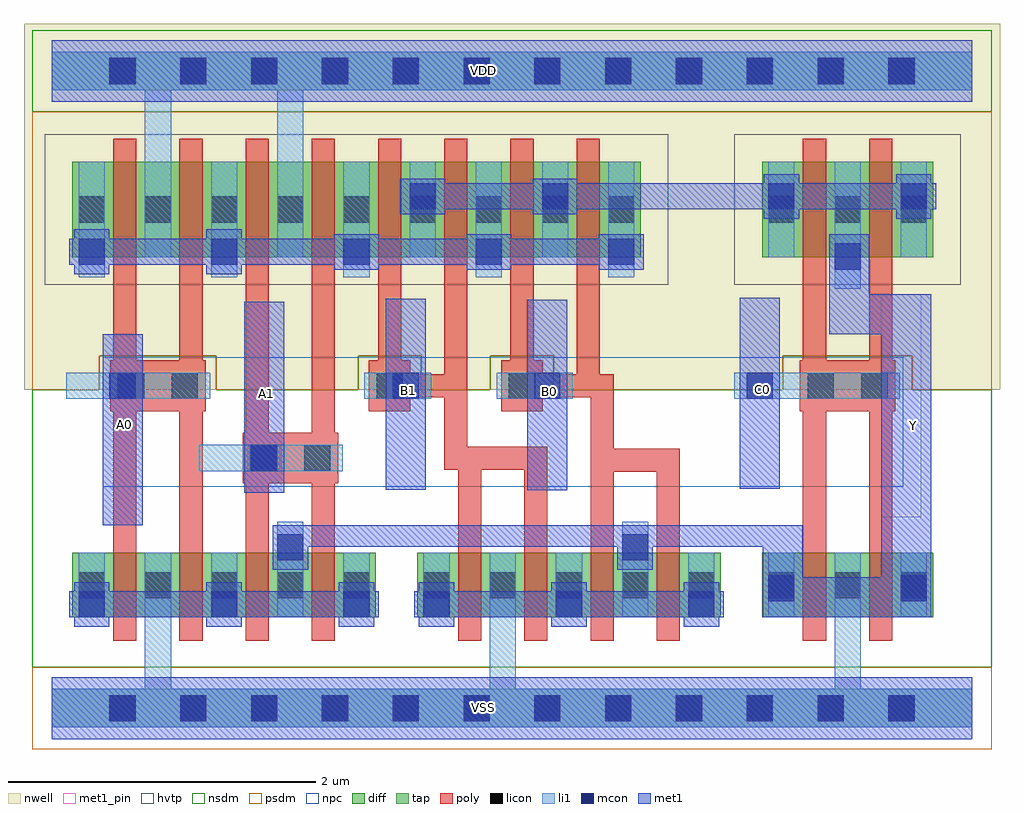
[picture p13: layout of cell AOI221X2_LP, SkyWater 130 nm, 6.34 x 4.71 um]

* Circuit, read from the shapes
.subckt AOI221X2_LP A0 A1 B0 B1 C0 VDD VSS Y
XM1 VSS A0 n1 VSS sky130_fd_pr__nfet_01v8 w=0.42 l=0.15 m=2
XM2 Y A1 n1 VSS sky130_fd_pr__nfet_01v8 w=0.42 l=0.15 m=2
XM3 VSS B1 n2 VSS sky130_fd_pr__nfet_01v8 w=0.42 l=0.15 m=2
XM4 Y B0 n2 VSS sky130_fd_pr__nfet_01v8 w=0.42 l=0.15 m=2
XM5 VSS C0 Y VSS sky130_fd_pr__nfet_01v8 w=0.42 l=0.15 m=2
XM6 VDD A0 n3 VDD sky130_fd_pr__pfet_01v8_hvt w=0.62 l=0.15 m=2
XM7 VDD A1 n3 VDD sky130_fd_pr__pfet_01v8_hvt w=0.62 l=0.15 m=2
XM8 n4 B1 n3 VDD sky130_fd_pr__pfet_01v8_hvt w=0.62 l=0.15 m=2
XM9 n4 B0 n3 VDD sky130_fd_pr__pfet_01v8_hvt w=0.62 l=0.15 m=2
XM10 Y C0 n4 VDD sky130_fd_pr__pfet_01v8_hvt w=0.62 l=0.15 m=2
.ends

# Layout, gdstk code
from math import pi, radians
import gdstk
lib = gdstk.Library(unit=1e-6, precision=1e-09)
def R(c, l, rs):  # rectangles x0, y0, x1, y1
    for r in rs: c.add(gdstk.rectangle(r[:2], r[2:], *l))
def A(c, l, x, y, w, h, nx, ny, dx, dy):  # array of equal rectangles
    R(c, l, [(x+i*dx, y+j*dy, x+i*dx+w, y+j*dy+h) for i in range(nx) for j in range(ny)])
def P(c, l, *ps):  # polygons
    for p in ps: c.add(gdstk.Polygon(p, *l))
nwell = (64, 20)
diff = (65, 20)
tap = (65, 44)
poly = (66, 20)
licon = (66, 44)
li1 = (67, 20)
mcon = (67, 44)
met1_pin = (68, 16)
met1 = (68, 20)
hvtp = (78, 44)
nsdm = (93, 44)
psdm = (94, 20)
npc = (95, 20)

l1m1_c_cdns_750721840977 = lib.new_cell('L1M1_C_CDNS_750721840977')
R(l1m1_c_cdns_750721840977, li1, [(-0.085,-0.165,0.085,0.085)])
R(l1m1_c_cdns_750721840977, mcon, [(-0.085,-0.085,0.085,0.085)])
R(l1m1_c_cdns_750721840977, met1, [(-0.115,-0.145,0.115,0.145)])

pyl1con_c_cdns_750721840 = lib.new_cell('PYL1CON_C_CDNS_750721840972')
R(pyl1con_c_cdns_750721840, poly, [(-0.135,-0.165,0.135,0.165)])
R(pyl1con_c_cdns_750721840, licon, [(-0.085,-0.085,0.085,0.085)])
R(pyl1con_c_cdns_750721840, npc, [(-0.185,-0.185,0.185,0.185)])

l1m1_c_cdns_750721840973 = lib.new_cell('L1M1_C_CDNS_750721840973')
R(l1m1_c_cdns_750721840973, li1, [(-0.165,-0.085,0.165,0.085)])
R(l1m1_c_cdns_750721840973, mcon, [(-0.085,-0.085,0.085,0.085)])
R(l1m1_c_cdns_750721840973, met1, [(-0.115,-0.145,0.115,0.145)])

l1m1_c_cdns_750721840971 = lib.new_cell('L1M1_C_CDNS_750721840971')
R(l1m1_c_cdns_750721840971, li1, [(-0.085,-0.165,0.085,0.165)])
R(l1m1_c_cdns_750721840971, mcon, [(-0.085,-0.085,0.085,0.085)])
R(l1m1_c_cdns_750721840971, met1, [(-0.115,-0.145,0.115,0.145)])

c_l1m1_c_cdns_750721840971 = lib.new_cell('L1M1_C_CDNS_7507218409710')
R(c_l1m1_c_cdns_750721840971, li1, [(-0.085,-0.165,0.085,0.165)])
R(c_l1m1_c_cdns_750721840971, mcon, [(-0.085,-0.085,0.085,0.085)])
R(c_l1m1_c_cdns_750721840971, met1, [(-0.145,-0.115,0.145,0.115)])

aoi221x2_lp = lib.new_cell('AOI221X2_LP')
R(aoi221x2_lp, nwell, [(-0.18,2.07,6.16,4.315), (-0.045,2.75,1.385,3.73), (1.025,2.75,2.245,3.73), (1.885,2.75,3.105,3.73), (2.745,2.75,4.005,3.73), (4.435,2.75,5.905,3.73), (-0.18,3.875,6.16,4.445)])
A(aoi221x2_lp, diff, 0.4, 0.59, 0.15, 0.42, 4, 1, 0.43, 0)
A(aoi221x2_lp, diff, 2.64, 0.59, 0.15, 0.42, 4, 1, 0.43, 0)
A(aoi221x2_lp, diff, 0.4, 2.93, 0.15, 0.62, 8, 1, 0.43, 0)
A(aoi221x2_lp, diff, 0.55, 2.93, 0.28, 0.62, 4, 1, 0.86, 0)
A(aoi221x2_lp, diff, 0.98, 2.93, 0.225, 0.62, 3, 1, 0.86, 0)
A(aoi221x2_lp, diff, 1.205, 2.93, 0.055, 0.62, 3, 1, 0.86, 0)
R(aoi221x2_lp, diff, [(0.135,0.59,0.4,1.01), (0.55,0.59,0.83,1.01), (0.98,0.59,1.205,1.01), (1.205,0.59,1.26,1.01), (1.41,0.59,1.69,1.01), (1.84,0.59,2.105,1.01), (2.375,0.59,2.64,1.01), (2.79,0.59,3.07,1.01), (3.22,0.59,3.275,1.01), (3.275,0.59,3.5,1.01), (3.65,0.59,3.93,1.01), (4.08,0.59,4.345,1.01), (4.615,0.59,4.88,1.01), (4.88,0.59,5.03,1.01), (5.03,0.59,5.31,1.01), (5.31,0.59,5.46,1.01), (5.46,0.59,5.725,1.01), (0.135,2.93,0.4,3.55), (3.56,2.93,3.825,3.55), (4.615,2.93,4.88,3.55), (4.88,2.93,5.03,3.55), (5.03,2.93,5.31,3.55), (5.31,2.93,5.46,3.55), (5.46,2.93,5.725,3.55)])
A(aoi221x2_lp, poly, 0.4, 0.44, 0.15, 0.055, 4, 2, 0.43, 0.665)
A(aoi221x2_lp, poly, 2.64, 0.44, 0.15, 0.055, 4, 2, 0.43, 0.665)
A(aoi221x2_lp, poly, 0.4, 0.495, 0.15, 0.095, 4, 2, 0.43, 0.515)
A(aoi221x2_lp, poly, 2.64, 0.495, 0.15, 0.095, 4, 2, 0.43, 0.515)
A(aoi221x2_lp, poly, 0.4, 0.59, 0.15, 0.42, 4, 1, 0.43, 0)
A(aoi221x2_lp, poly, 2.64, 0.59, 0.15, 0.42, 4, 1, 0.43, 0)
A(aoi221x2_lp, poly, 0.4, 2.78, 0.15, 0.055, 8, 2, 0.43, 0.865)
A(aoi221x2_lp, poly, 0.4, 2.835, 0.15, 0.095, 8, 2, 0.43, 0.715)
A(aoi221x2_lp, poly, 0.4, 2.93, 0.15, 0.62, 8, 1, 0.43, 0)
R(aoi221x2_lp, poly, [(4.88,0.44,5.03,0.495), (5.31,0.44,5.46,0.495), (4.88,0.495,5.03,0.59), (5.31,0.495,5.46,0.59), (4.88,0.59,5.03,1.01), (5.31,0.59,5.46,1.01), (4.88,1.01,5.03,1.105), (5.31,1.01,5.46,1.105), (4.88,1.105,5.03,1.16), (5.31,1.105,5.46,1.16), (4.88,2.78,5.03,2.835), (5.31,2.78,5.46,2.835), (4.88,2.835,5.03,2.93), (5.31,2.835,5.46,2.93), (4.88,2.93,5.03,3.55), (5.31,2.93,5.46,3.55), (4.88,3.55,5.03,3.645), (5.31,3.55,5.46,3.645), (4.88,3.645,5.03,3.7), (5.31,3.645,5.46,3.7)])
A(aoi221x2_lp, licon, 0.375, -0.085, 0.17, 0.17, 12, 2, 0.46, 4.14)
A(aoi221x2_lp, licon, 0.175, 0.715, 0.17, 0.17, 5, 1, 0.43, 0)
A(aoi221x2_lp, licon, 2.415, 0.715, 0.17, 0.17, 5, 1, 0.43, 0)
A(aoi221x2_lp, licon, 4.655, 0.715, 0.17, 0.17, 3, 2, 0.43, 2.44)
A(aoi221x2_lp, licon, 0.175, 3.155, 0.17, 0.17, 9, 1, 0.43, 0)
A(aoi221x2_lp, li1, 0.175, 0.59, 0.17, 0.42, 5, 1, 0.43, 0)
A(aoi221x2_lp, li1, 2.415, 0.59, 0.17, 0.42, 5, 1, 0.43, 0)
A(aoi221x2_lp, li1, 4.655, 0.59, 0.17, 0.42, 3, 1, 0.43, 0)
A(aoi221x2_lp, li1, 0.175, 2.93, 0.17, 0.62, 9, 1, 0.43, 0)
A(aoi221x2_lp, li1, 4.655, 2.93, 0.17, 0.62, 3, 1, 0.43, 0)
R(aoi221x2_lp, li1, [(2.845,0,3.015,0.59), (0.605,0.005,0.775,0.59)])
A(aoi221x2_lp, mcon, 0.375, -0.085, 0.17, 0.17, 12, 2, 0.46, 4.14)
R(aoi221x2_lp, mcon, [(4.655,0.695,4.825,0.865), (5.515,0.695,5.685,0.865), (5.085,2.85,5.255,3.02)])
R(aoi221x2_lp, met1_pin, [(0.33,1.19,0.59,2.43), (5.39,1.24,5.65,2.69), (1.25,1.4,1.51,2.64), (3.09,1.415,3.35,2.655), (2.17,1.42,2.43,2.66), (4.47,1.425,4.73,2.665)])
R(aoi221x2_lp, met1, [(5.39,0.59,5.715,2.69)])
R(aoi221x2_lp, hvtp, [(-0.045,2.75,1.385,3.73), (1.025,2.75,2.245,3.73), (1.885,2.75,3.105,3.73), (2.745,2.75,4.005,3.73), (4.435,2.75,5.905,3.73)])
R(aoi221x2_lp, nsdm, [(-0.005,0.46,1.215,1.14), (1.195,0.46,2.245,1.14), (2.235,0.46,3.285,1.14), (3.265,0.46,4.485,1.14), (4.475,0.46,5.865,1.14), (-0.125,3.875,6.105,4.405), (-0.125,3.93,6.105,4.35)])
P(aoi221x2_lp, nsdm, [(6.105,2.07),(5.59,2.07),(5.59,2.29),(4.75,2.29),(4.75,2.07),(3.26,2.07),(3.26,2.29),(2.85,2.29),(2.85,2.07),(2.4,2.07),(2.4,2.29),(1.99,2.29),(1.99,2.07),(1.07,2.07),(1.07,2.29),(0.31,2.29),(0.31,2.07),(-0.125,2.07),(-0.125,0.265),(6.105,0.265)])
R(aoi221x2_lp, psdm, [(-0.125,-0.265,6.105,0.265), (-0.125,-0.21,6.105,0.21), (-0.005,2.8,1.215,3.68), (1.195,2.8,2.075,3.68), (2.055,2.8,2.935,3.68), (2.915,2.8,3.965,3.68), (4.475,2.8,5.865,3.68)])
P(aoi221x2_lp, psdm, [(6.105,3.875),(-0.125,3.875),(-0.125,2.07),(0.31,2.07),(0.31,2.29),(1.07,2.29),(1.07,2.07),(1.99,2.07),(1.99,2.29),(2.4,2.29),(2.4,2.07),(2.85,2.07),(2.85,2.29),(3.26,2.29),(3.26,2.07),(4.75,2.07),(4.75,2.29),(5.59,2.29),(5.59,2.07),(6.105,2.07)])
R(aoi221x2_lp, npc, [(0.33,1.44,5.53,2.28)])
aoi221x2_lp.add(gdstk.FlexPath([(3.575,1.16),(3.575,1.61)], 0.15, ends=(0, 0.075), simple_path=True, layer=66, datatype=20))  # poly
aoi221x2_lp.add(gdstk.FlexPath([(4.995,2.095),(5.37,2.095)], 0.33, ends="flush", simple_path=True, layer=66, datatype=20))  # poly
aoi221x2_lp.add(gdstk.FlexPath([(4.955,2.78),(4.955,1.16)], 0.15, ends="flush", simple_path=True, layer=66, datatype=20))  # poly
aoi221x2_lp.add(gdstk.FlexPath([(3.575,1.61),(3.575,2.095)], 0.15, ends="extended", simple_path=True, layer=66, datatype=20))  # poly
aoi221x2_lp.add(gdstk.FlexPath([(3.485,2.095),(3.485,2.78)], 0.15, ends=(0.075, 0), simple_path=True, layer=66, datatype=20))  # poly
aoi221x2_lp.add(gdstk.FlexPath([(1.335,1.16),(1.335,2.78)], 0.15, ends="flush", simple_path=True, layer=66, datatype=20))  # poly
aoi221x2_lp.add(gdstk.FlexPath([(3.575,2.095),(3.485,2.095)], 0.15, ends="extended", simple_path=True, layer=66, datatype=20))  # poly
aoi221x2_lp.add(gdstk.FlexPath([(0.49,2.095),(0.865,2.095)], 0.33, ends="flush", simple_path=True, layer=66, datatype=20))  # poly
aoi221x2_lp.add(gdstk.FlexPath([(2.715,1.625),(2.625,1.625)], 0.15, ends="extended", simple_path=True, layer=66, datatype=20))  # poly
aoi221x2_lp.add(gdstk.FlexPath([(2.715,1.16),(2.715,1.625)], 0.15, ends=(0, 0.075), simple_path=True, layer=66, datatype=20))  # poly
aoi221x2_lp.add(gdstk.FlexPath([(2.715,1.625),(3.145,1.625)], 0.15, ends="extended", simple_path=True, layer=66, datatype=20))  # poly
aoi221x2_lp.add(gdstk.FlexPath([(2.625,2.095),(2.195,2.095)], 0.15, ends="extended", simple_path=True, layer=66, datatype=20))  # poly
aoi221x2_lp.add(gdstk.FlexPath([(2.195,2.78),(2.195,2.095)], 0.15, ends=(0, 0.075), simple_path=True, layer=66, datatype=20))  # poly
aoi221x2_lp.add(gdstk.FlexPath([(4.005,1.16),(4.005,1.61)], 0.15, ends=(0, 0.075), simple_path=True, layer=66, datatype=20))  # poly
aoi221x2_lp.add(gdstk.FlexPath([(0.905,2.78),(0.905,1.16)], 0.15, ends="flush", simple_path=True, layer=66, datatype=20))  # poly
aoi221x2_lp.add(gdstk.FlexPath([(1.765,2.78),(1.765,1.16)], 0.15, ends="flush", simple_path=True, layer=66, datatype=20))  # poly
aoi221x2_lp.add(gdstk.FlexPath([(5.385,1.16),(5.385,2.78)], 0.15, ends="flush", simple_path=True, layer=66, datatype=20))  # poly
aoi221x2_lp.add(gdstk.FlexPath([(0.475,1.16),(0.475,2.78)], 0.15, ends="flush", simple_path=True, layer=66, datatype=20))  # poly
aoi221x2_lp.add(gdstk.FlexPath([(1.35,1.625),(1.725,1.625)], 0.33, ends="flush", simple_path=True, layer=66, datatype=20))  # poly
aoi221x2_lp.add(gdstk.FlexPath([(4.005,1.61),(3.575,1.61)], 0.15, ends="extended", simple_path=True, layer=66, datatype=20))  # poly
aoi221x2_lp.add(gdstk.FlexPath([(3.145,1.625),(3.145,1.16)], 0.15, ends=(0.075, 0), simple_path=True, layer=66, datatype=20))  # poly
aoi221x2_lp.add(gdstk.FlexPath([(2.625,2.78),(2.625,2.095)], 0.15, ends=(0, 0.075), simple_path=True, layer=66, datatype=20))  # poly
aoi221x2_lp.add(gdstk.FlexPath([(3.055,2.78),(3.055,2.095)], 0.15, ends=(0, 0.075), simple_path=True, layer=66, datatype=20))  # poly
aoi221x2_lp.add(gdstk.FlexPath([(2.625,1.625),(2.625,2.095)], 0.15, ends="extended", simple_path=True, layer=66, datatype=20))  # poly
aoi221x2_lp.add(gdstk.FlexPath([(3.485,2.095),(3.055,2.095)], 0.15, ends="extended", simple_path=True, layer=66, datatype=20))  # poly
aoi221x2_lp.add(gdstk.FlexPath([(5.17,3.24),(5.17,2.725)], 0.17, ends="flush", simple_path=True, layer=67, datatype=20))  # li1
aoi221x2_lp.add(gdstk.FlexPath([(3.305,2.095),(2.89,2.095)], 0.17, ends="flush", simple_path=True, layer=67, datatype=20))  # li1
aoi221x2_lp.add(gdstk.FlexPath([(0.095,2.095),(1.03,2.095)], 0.17, ends="flush", simple_path=True, layer=67, datatype=20))  # li1
aoi221x2_lp.add(gdstk.FlexPath([(0.955,1.625),(1.89,1.625)], 0.17, ends="flush", simple_path=True, layer=67, datatype=20))  # li1
aoi221x2_lp.add(gdstk.FlexPath([(2.445,2.095),(2.03,2.095)], 0.17, ends="flush", simple_path=True, layer=67, datatype=20))  # li1
aoi221x2_lp.add(gdstk.FlexPath([(4.575,2.095),(5.51,2.095)], 0.17, ends="flush", simple_path=True, layer=67, datatype=20))  # li1
aoi221x2_lp.add(gdstk.FlexPath([(5.17,0.59),(5.17,0)], 0.17, ends=(0, 0.085), simple_path=True, layer=67, datatype=20))  # li1
aoi221x2_lp.add(gdstk.FlexPath([(0.69,3.55),(0.69,4.14)], 0.17, ends=(0, 0.085), simple_path=True, layer=67, datatype=20))  # li1
aoi221x2_lp.add(gdstk.FlexPath([(1.55,4.14),(0.69,4.14)], 0.17, ends="extended", simple_path=True, layer=67, datatype=20))  # li1
aoi221x2_lp.add(gdstk.FlexPath([(0,4.14),(5.98,4.14)], 0.25, ends="flush", simple_path=True, layer=67, datatype=20))  # li1
aoi221x2_lp.add(gdstk.FlexPath([(5.17,0),(0.69,0)], 0.17, ends="extended", simple_path=True, layer=67, datatype=20))  # li1
aoi221x2_lp.add(gdstk.FlexPath([(0,0),(5.98,0)], 0.25, ends="flush", simple_path=True, layer=67, datatype=20))  # li1
aoi221x2_lp.add(gdstk.FlexPath([(1.55,3.55),(1.55,4.14)], 0.17, ends=(0, 0.085), simple_path=True, layer=67, datatype=20))  # li1
aoi221x2_lp.add(gdstk.FlexPath([(0,4.14),(5.98,4.14)], 0.4, ends="flush", simple_path=True, layer=68, datatype=20))  # met1
aoi221x2_lp.add(gdstk.FlexPath([(4.6,2.665),(4.6,1.425)], 0.26, ends="flush", simple_path=True, layer=68, datatype=20))  # met1
aoi221x2_lp.add(gdstk.FlexPath([(0,0),(5.98,0)], 0.4, ends="flush", simple_path=True, layer=68, datatype=20))  # met1
aoi221x2_lp.add(gdstk.FlexPath([(3.22,2.655),(3.22,1.415)], 0.26, ends="flush", simple_path=True, layer=68, datatype=20))  # met1
aoi221x2_lp.add(gdstk.FlexPath([(2.3,2.66),(2.3,1.42)], 0.26, ends="flush", simple_path=True, layer=68, datatype=20))  # met1
aoi221x2_lp.add(gdstk.FlexPath([(1.38,2.64),(1.38,1.4)], 0.26, ends="flush", simple_path=True, layer=68, datatype=20))  # met1
aoi221x2_lp.add(gdstk.FlexPath([(1.435,1.12),(4.765,1.12)], 0.14, ends=(0, 0.115), simple_path=True, layer=68, datatype=20))  # met1
aoi221x2_lp.add(gdstk.FlexPath([(4.88,1.12),(4.765,1.12)], 0.14, ends=(0, 0.115), simple_path=True, layer=68, datatype=20))  # met1
aoi221x2_lp.add(gdstk.FlexPath([(2.355,0.675),(4.365,0.675)], 0.17, ends="flush", simple_path=True, layer=68, datatype=20))  # met1
aoi221x2_lp.add(gdstk.FlexPath([(0.115,0.675),(2.125,0.675)], 0.17, ends="flush", simple_path=True, layer=68, datatype=20))  # met1
aoi221x2_lp.add(gdstk.FlexPath([(0.115,2.965),(3.845,2.965)], 0.17, ends="flush", simple_path=True, layer=68, datatype=20))  # met1
aoi221x2_lp.add(gdstk.FlexPath([(2.265,3.325),(5.745,3.325)], 0.17, ends="flush", simple_path=True, layer=68, datatype=20))  # met1
aoi221x2_lp.add(gdstk.FlexPath([(5.52,0.59),(5.52,2.69)], 0.26, ends="flush", simple_path=True, layer=68, datatype=20))  # met1
aoi221x2_lp.add(gdstk.FlexPath([(4.75,1.19),(4.75,0.72)], 0.26, ends=(0, 0.13), simple_path=True, layer=68, datatype=20))  # met1
aoi221x2_lp.add(gdstk.FlexPath([(4.75,0.72),(5.6,0.72)], 0.26, ends=(0.13, 0.115), simple_path=True, layer=68, datatype=20))  # met1
aoi221x2_lp.add(gdstk.FlexPath([(5.18,2.56),(5.18,3.08)], 0.26, ends=(0.13, 0), simple_path=True, layer=68, datatype=20))  # met1
aoi221x2_lp.add(gdstk.FlexPath([(5.535,2.56),(5.18,2.56)], 0.26, ends=(0.115, 0.13), simple_path=True, layer=68, datatype=20))  # met1
aoi221x2_lp.add(gdstk.FlexPath([(0.46,2.43),(0.46,1.19)], 0.26, ends="flush", simple_path=True, layer=68, datatype=20))  # met1
aoi221x2_lp.add(gdstk.FlexPath([(0,4.14),(5.98,4.14)], 0.4, ends="flush", simple_path=True, layer=68, datatype=16))  # met1_pin
aoi221x2_lp.add(gdstk.FlexPath([(0,0),(5.98,0)], 0.4, ends="flush", simple_path=True, layer=68, datatype=16))  # met1_pin
aoi221x2_lp.add(gdstk.FlexPath([(0,0),(5.98,0)], 0.25, ends="flush", simple_path=True, layer=65, datatype=44))  # tap
aoi221x2_lp.add(gdstk.FlexPath([(0,4.14),(5.98,4.14)], 0.25, ends="flush", simple_path=True, layer=65, datatype=44))  # tap
aoi221x2_lp.add(gdstk.Reference(l1m1_c_cdns_750721840977, (1.98,0.675), x_reflection=True))
aoi221x2_lp.add(gdstk.Reference(l1m1_c_cdns_750721840977, (4.22,0.675), x_reflection=True))
aoi221x2_lp.add(gdstk.Reference(l1m1_c_cdns_750721840977, (3.36,0.675), x_reflection=True))
aoi221x2_lp.add(gdstk.Reference(l1m1_c_cdns_750721840977, (2.5,0.675), x_reflection=True))
aoi221x2_lp.add(gdstk.Reference(l1m1_c_cdns_750721840977, (1.12,0.675), x_reflection=True))
aoi221x2_lp.add(gdstk.Reference(l1m1_c_cdns_750721840977, (0.26,0.675), x_reflection=True))
aoi221x2_lp.add(gdstk.Reference(pyl1con_c_cdns_750721840, (4.995,2.095), rotation=pi, x_reflection=True))
aoi221x2_lp.add(gdstk.Reference(pyl1con_c_cdns_750721840, (5.345,2.095), rotation=pi, x_reflection=True))
aoi221x2_lp.add(gdstk.Reference(pyl1con_c_cdns_750721840, (3.055,2.095), rotation=pi, x_reflection=True))
aoi221x2_lp.add(gdstk.Reference(pyl1con_c_cdns_750721840, (2.195,2.095), rotation=pi, x_reflection=True))
aoi221x2_lp.add(gdstk.Reference(pyl1con_c_cdns_750721840, (1.375,1.625), rotation=pi, x_reflection=True))
aoi221x2_lp.add(gdstk.Reference(pyl1con_c_cdns_750721840, (1.725,1.625), rotation=pi, x_reflection=True))
aoi221x2_lp.add(gdstk.Reference(pyl1con_c_cdns_750721840, (0.865,2.095), rotation=pi, x_reflection=True))
aoi221x2_lp.add(gdstk.Reference(pyl1con_c_cdns_750721840, (0.515,2.095), rotation=pi, x_reflection=True))
aoi221x2_lp.add(gdstk.Reference(l1m1_c_cdns_750721840973, (4.6,2.095)))
aoi221x2_lp.add(gdstk.Reference(l1m1_c_cdns_750721840973, (3.22,2.095)))
aoi221x2_lp.add(gdstk.Reference(l1m1_c_cdns_750721840973, (2.3,2.095)))
aoi221x2_lp.add(gdstk.Reference(l1m1_c_cdns_750721840973, (1.38,1.625)))
aoi221x2_lp.add(gdstk.Reference(l1m1_c_cdns_750721840973, (0.46,2.095)))
aoi221x2_lp.add(gdstk.Reference(l1m1_c_cdns_750721840971, (5.6,3.325), x_reflection=True))
aoi221x2_lp.add(gdstk.Reference(l1m1_c_cdns_750721840971, (4.74,3.325), x_reflection=True))
aoi221x2_lp.add(gdstk.Reference(l1m1_c_cdns_750721840971, (3.79,1.045), x_reflection=True))
aoi221x2_lp.add(gdstk.Reference(l1m1_c_cdns_750721840971, (0.26,2.965), x_reflection=True))
aoi221x2_lp.add(gdstk.Reference(l1m1_c_cdns_750721840971, (1.12,2.965), x_reflection=True))
aoi221x2_lp.add(gdstk.Reference(l1m1_c_cdns_750721840971, (1.55,1.045), x_reflection=True))
aoi221x2_lp.add(gdstk.Reference(c_l1m1_c_cdns_750721840971, (3.27,3.325), x_reflection=True))
aoi221x2_lp.add(gdstk.Reference(c_l1m1_c_cdns_750721840971, (2.84,2.965), x_reflection=True))
aoi221x2_lp.add(gdstk.Reference(c_l1m1_c_cdns_750721840971, (1.98,2.965), x_reflection=True))
aoi221x2_lp.add(gdstk.Reference(c_l1m1_c_cdns_750721840971, (2.41,3.325), x_reflection=True))
aoi221x2_lp.add(gdstk.Reference(c_l1m1_c_cdns_750721840971, (3.7,2.965), x_reflection=True))
aoi221x2_lp.add(gdstk.Label('VDD', (2.805,4.145), layer=68, texttype=5))
aoi221x2_lp.add(gdstk.Label('Y', (5.595,1.835), layer=68, texttype=5))
aoi221x2_lp.add(gdstk.Label('A1', (1.395,2.045), layer=68, texttype=5))
aoi221x2_lp.add(gdstk.Label('C0', (4.615,2.07), layer=68, texttype=5))
aoi221x2_lp.add(gdstk.Label('B0', (3.235,2.06), layer=68, texttype=5))
aoi221x2_lp.add(gdstk.Label('B1', (2.315,2.065), layer=68, texttype=5))
aoi221x2_lp.add(gdstk.Label('A0', (0.475,1.84), layer=68, texttype=5))
aoi221x2_lp.add(gdstk.Label('VSS', (2.805,0.005), layer=68, texttype=5))

lib.write_gds('AOI221X2_LP.gds')
